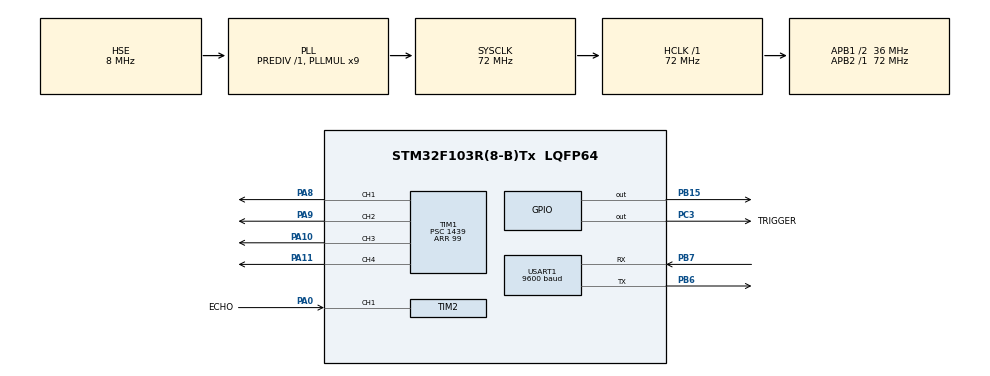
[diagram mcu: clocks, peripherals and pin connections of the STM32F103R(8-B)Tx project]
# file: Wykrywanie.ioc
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Mcu.Family=STM32F1
SH.S_TIM1_CH4.0=TIM1_CH4,PWM Generation4 CH4
TIM2.Channel-Input_Capture1_from_TI1=TIM_CHANNEL_1
USART1.BaudRate=9600
PA14.GPIO_Label=TCK
PB15.Signal=GPIO_Output
RCC.SYSCLKSource=RCC_SYSCLKSOURCE_PLLCLK
ProjectManager.StackSize=0x400
PD1-OSC_OUT.Signal=RCC_OSC_OUT
TIM1.Prescaler=1439
TIM2.ICPolarity_CH2=TIM_INPUTCHANNELPOLARITY_FALLING
TIM1.Channel-PWM\ Generation4\ CH4=TIM_CHANNEL_4
RCC.HCLKFreq_Value=72000000
RCC.APB2TimFreq_Value=72000000
PB6.Signal=USART1_TX
PB6.Mode=Asynchronous
PC3.Signal=GPIO_Output
RCC.AHBFreq_Value=72000000
RCC.RTCClockSelection=RCC_RTCCLKSOURCE_LSE
RCC.PLLMUL=RCC_PLL_MUL9
PC14-OSC32_IN.Mode=LSE-External-Oscillator
TIM1.Channel-PWM\ Generation1\ CH1=TIM_CHANNEL_1
PA14.Mode=Serial_Wire
TIM3.Prescaler=719
NVIC.TIM2_IRQn=true\:0\:0\:false\:false\:true\:true\:true
PB7.Signal=USART1_RX
PA8.Signal=S_TIM1_CH1
VP_TIM1_VS_ClockSourceINT.Mode=Internal
Mcu.Package=LQFP64
TIM2.Prescaler=71
PB15.GPIO_PuPd=GPIO_PULLDOWN
TIM2.Channel-Input_Capture2_from_TI1=TIM_CHANNEL_2
PA10.Signal=S_TIM1_CH3
RCC.APB1TimFreq_Value=72000000
TIM1.Period=99
NVIC.USART1_IRQn=true\:0\:0\:false\:false\:true\:true\:true
VP_TIM3_VS_ClockSourceINT.Mode=Internal
PB3.GPIO_Label=SWO
RCC.PLLSourceVirtual=RCC_PLLSOURCE_HSE
PC15-OSC32_OUT.Mode=LSE-External-Oscillator
PD1-OSC_OUT.Mode=HSE-External-Clock-Source
PD0-OSC_IN.Signal=RCC_OSC_IN
RCC.APB1CLKDivider=RCC_HCLK_DIV2
PC14-OSC32_IN.Signal=RCC_OSC32_IN
PA0-WKUP.GPIO_Label=ECHO
PA0-WKUP.Signal=S_TIM2_CH1_ETR
PA13.Signal=SYS_JTMS-SWDIO
SH.S_TIM1_CH1.0=TIM1_CH1,PWM Generation1 CH1
ProjectManager.TargetToolchain=STM32CubeIDE
PA9.Signal=S_TIM1_CH2
TIM1.Channel-PWM\ Generation2\ CH2=TIM_CHANNEL_2
RCC.USBFreq_Value=72000000
PC15-OSC32_OUT.Signal=RCC_OSC32_OUT
PD0-OSC_IN.Mode=HSE-External-Clock-Source
board=NUCLEO-F103RB
RCC.APB2Freq_Value=72000000
VP_TIM2_VS_ClockSourceINT.Mode=Internal
SH.S_TIM1_CH2.0=TIM1_CH2,PWM Generation2 CH2
TIM2.Period=65535
PA13.Mode=Serial_Wire
Mcu.Name=STM32F103R(8-B)Tx
PA13.GPIO_Label=TMS
PB3.Signal=SYS_JTDO-TRACESWO
RCC.SYSCLKFreq_VALUE=72000000
USART1.VirtualMode=VM_ASYNC
PB7.Mode=Asynchronous
PA11.Signal=S_TIM1_CH4
SH.S_TIM2_CH1_ETR.1=TIM2_CH1,Input_Capture2_from_TI1
SH.S_TIM2_CH1_ETR.0=TIM2_CH1,Input_Capture1_from_TI1
PA14.Signal=SYS_JTCK-SWCLK
ProjectManager.HeapSize=0x200
SH.S_TIM1_CH3.0=TIM1_CH3,PWM Generation3 CH3
NVIC.PriorityGroup=NVIC_PRIORITYGROUP_4
PC3.GPIO_Label=TRIGGER
TIM1.Channel-PWM\ Generation3\ CH3=TIM_CHANNEL_3
RCC.APB1Freq_Value=36000000
PC3.GPIO_PuPd=GPIO_PULLDOWN

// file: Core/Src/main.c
/* USER CODE BEGIN Header */
/**
  ******************************************************************************
  * @file           : main.c
  * @brief          : Main program body
  ******************************************************************************
  * @attention
  *
  * <h2><center>&copy; Copyright (c) 2021 STMicroelectronics.
  * All rights reserved.</center></h2>
  *
  * This software component is licensed by ST under BSD 3-Clause license,
  * the "License"; You may not use this file except in compliance with the
  * License. You may obtain a copy of the License at:
  *                        opensource.org/licenses/BSD-3-Clause
  *
  ******************************************************************************
  */
/* USER CODE END Header */
#include "main.h"
#include "tim.h"
#include "usart.h"
#include "gpio.h"

/* USER CODE BEGIN Includes */
#include "bluetooth.h"
#include "distance_sensor.h"
/* USER CODE END Includes */

/* USER CODE BEGIN PV */
extern volatile uint16_t impulse_time;
extern volatile uint16_t distance;
volatile uint8_t DataR[2];
volatile uint8_t Data;
int Size = 2;
volatile _Bool flag = 0;
volatile _Bool wykrycie = 0;

/* USER CODE END PV */

void SystemClock_Config(void);

/* USER CODE BEGIN 0 */
TIM_HandleTypeDef htim1;
TIM_HandleTypeDef htim2;
TIM_HandleTypeDef htim4;
UART_HandleTypeDef huart1;
/* USER CODE END 0 */

int main(void)
{

  /* MCU Configuration--------------------------------------------------------*/

  /* Reset of all peripherals, Initializes the Flash interface and the Systick. */
  HAL_Init();

  /* Configure the system clock */
  SystemClock_Config();

  /* Initialize all configured peripherals */
  MX_GPIO_Init();
  MX_USART1_UART_Init();
  MX_TIM1_Init();
  MX_TIM2_Init();
  MX_TIM3_Init();
  /* USER CODE BEGIN 2 */
  	//Pomiar Czasu
  	HAL_TIM_Base_Start_IT(&htim4);//5Hz
  	//Sygnał PWM
  	HAL_TIM_PWM_Start(&htim1, TIM_CHANNEL_1);
  	HAL_TIM_PWM_Start(&htim1, TIM_CHANNEL_2);
  	HAL_TIM_PWM_Start(&htim1, TIM_CHANNEL_3);
  	HAL_TIM_PWM_Start(&htim1, TIM_CHANNEL_4);

  	//UART
  	HAL_UART_Init(&huart1);
  	//Czujnik
  	US_Init();
  /* USER CODE END 2 */

  /* Infinite loop */
  /* USER CODE BEGIN WHILE */
  while (1)
  {
	  US_start();
    /* USER CODE END WHILE */

  }
}

void SystemClock_Config(void)
{
  RCC_OscInitTypeDef RCC_OscInitStruct = {0};
  RCC_ClkInitTypeDef RCC_ClkInitStruct = {0};

  /** Initializes the RCC Oscillators according to the specified parameters
  * in the RCC_OscInitTypeDef structure.
  */
  RCC_OscInitStruct.OscillatorType = RCC_OSCILLATORTYPE_HSE;
  RCC_OscInitStruct.HSEState = RCC_HSE_BYPASS;
  RCC_OscInitStruct.HSEPredivValue = RCC_HSE_PREDIV_DIV1;
  RCC_OscInitStruct.HSIState = RCC_HSI_ON;
  RCC_OscInitStruct.PLL.PLLState = RCC_PLL_ON;
  RCC_OscInitStruct.PLL.PLLSource = RCC_PLLSOURCE_HSE;
  RCC_OscInitStruct.PLL.PLLMUL = RCC_PLL_MUL9;
  if (HAL_RCC_OscConfig(&RCC_OscInitStruct) != HAL_OK)
  {
    Error_Handler();
  }
  /** Initializes the CPU, AHB and APB buses clocks
  */
  RCC_ClkInitStruct.ClockType = RCC_CLOCKTYPE_HCLK|RCC_CLOCKTYPE_SYSCLK
                              |RCC_CLOCKTYPE_PCLK1|RCC_CLOCKTYPE_PCLK2;
  RCC_ClkInitStruct.SYSCLKSource = RCC_SYSCLKSOURCE_PLLCLK;
  RCC_ClkInitStruct.AHBCLKDivider = RCC_SYSCLK_DIV1;
  RCC_ClkInitStruct.APB1CLKDivider = RCC_HCLK_DIV2;
  RCC_ClkInitStruct.APB2CLKDivider = RCC_HCLK_DIV1;

  if (HAL_RCC_ClockConfig(&RCC_ClkInitStruct, FLASH_LATENCY_2) != HAL_OK)
  {
    Error_Handler();
  }
}

void Error_Handler(void)
{
}

/************************ (C) COPYRIGHT STMicroelectronics *****END OF FILE****/
